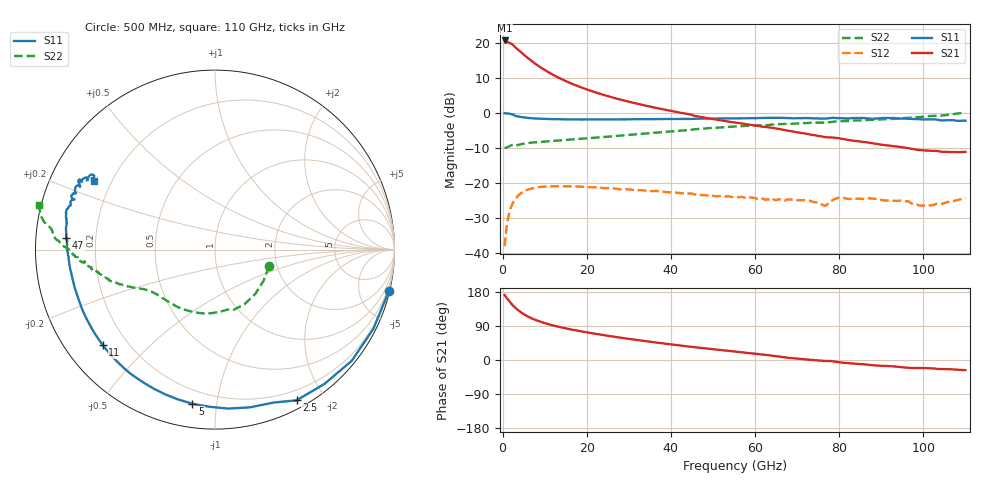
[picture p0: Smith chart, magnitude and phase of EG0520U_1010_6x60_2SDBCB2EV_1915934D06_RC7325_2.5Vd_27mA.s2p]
!File name = EG0520U_1010_6x60_2SDBCB2EV_1915934D06_RC7325_2.5Vd_27mA.s2p
!Base file name = EG0520U_1010_6x60_2SDBCB2EV_1915934D06_RC7325
!Date = 8/23/2019
!Time = 1:07 PM
!Test duration(min) = 0.15
!Test = S-Parameters
!MPTS version = 8.91.5
!State File = C:\Data\PNA\20190821205423\S-Parameters_2019-08-23.sta
!Cal File =
!ComputerName = CMPE-LAB-6
!Comments =
!Attenuation = 0
!Z0 = 50
!Input Power(dBm) = -13.00
!Device ID = EG0520U_1010_6x60_2SDBCB2EV
!Row = 73
!Column = 25
!Technology = QPHT09
!Lot/Wafer = 1915934D06
!Gate Size = 360
!Mask = EG0520
!Cal Standards = GaAs BCB
!Cal Kit = EG2306
!Job Number = 20190821205423
!Device Type = FET
!set_Vg(v) = -1.500
!set_Vd(v) = 2.500
!set_Vd(mA) = 27.000
!file_name = EG0520U_1010_6x60_2SDBCB2EV_1915934D06_RC7325_2.5Vd_27mA.s2p
!Vd(V) = 2.500
!Vd(mA) = 26.913
!Vg(V) = -0.577
!Vg(mA) = -0.002
# GHz  S  DB  R  50
!%	Freq(GHz)  s11(dB)  s11(deg)  s21(dB)  s21(deg)  s12(dB)  s12(deg)  s22(dB)  s22(deg)
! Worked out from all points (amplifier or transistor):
!   220 points, 500 MHz to 110 GHz, reference 50 ohm
!   highest |S21| = 20.7 dB at 500 MHz (marker M1)
!   |S21| within 3 dB of that: start of sweep to 4.064 GHz
!   unconditionally stable (mu >= 1): 38.64 GHz to 105.2 GHz
!   at 18.5 GHz: K = 0.47, MSG = 14.2 dB, |S12| = -21.0 dB
!   at 55.5 GHz: K = 1.36, MAG = 7.0 dB, |S12| = -23.9 dB
!   at 110 GHz: K = -1.07, MSG = 6.5 dB, |S12| = -24.1 dB
!   S11 on the Smith chart (normalised r, x): 500 MHz: 0.16, -8.50; 2.5 GHz: 0.09, -1.68; 5 GHz: 0.12, -0.86; 11 GHz: 0.11, -0.36; 47 GHz: 0.09, +0.04; 110 GHz: 0.13, +0.26
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0.5  -0.04 -13.4  20.73 171.8  -38.01 81.7  -10.00 -17.2
1  -0.12 -26.6  20.40 163.6  -32.20 74.6  -9.85 -32.9
2  -0.31 -50.7  19.84 149.7  -26.95 60.9  -9.23 -61.6
2.5  -0.40 -61.6  19.46 143.6  -25.53 55.3  -9.09 -72.7
3  -0.80 -69.0  18.81 138.5  -24.67 51.1  -9.34 -77.6
3.5  -0.92 -77.7  18.32 133.5  -23.86 46.7  -9.17 -85.9
4.5  -1.15 -92.2  17.26 124.9  -22.79 39.1  -8.86 -99.5
5  -1.23 -98.4  16.75 121.4  -22.41 36.0  -8.76 -104.9
6  -1.39 -109.0  15.74 114.9  -21.89 30.8  -8.59 -113.8
7.5  -1.53 -121.2  14.34 107.2  -21.40 24.7  -8.36 -123.4
9  -1.62 -130.2  13.08 101.1  -21.11 20.1  -8.24 -129.7
11  -1.71 -139.6  11.60 94.2  -20.93 15.2  -8.06 -136.0
14.5  -1.80 -150.8  9.42 84.7  -20.90 9.3  -7.74 -142.7
19  -1.84 -160.0  7.18 74.9  -21.05 4.0  -7.32 -147.6
26.5  -1.82 -169.7  4.33 61.4  -21.53 -1.2  -6.58 -152.3
37  -1.73 -178.0  1.35 45.4  -22.30 -4.6  -5.54 -157.2
47  -1.60 175.4  -1.08 32.1  -23.39 -6.5  -4.49 -162.5
55.5  -1.53 170.4  -2.74 22.0  -23.92 -7.6  -3.81 -166.6
73.5  -1.49 160.9  -6.20 0.1  -25.25 -15.5  -2.73 -173.9
92  -1.44 152.8  -9.32 -16.3  -25.01 -26.3  -1.70 179.4
101  -1.81 151.6  -10.76 -21.6  -26.57 -26.0  -0.91 175.3
110  -2.18 150.4  -11.09 -26.8  -24.14 -23.7  0.11 165.9
